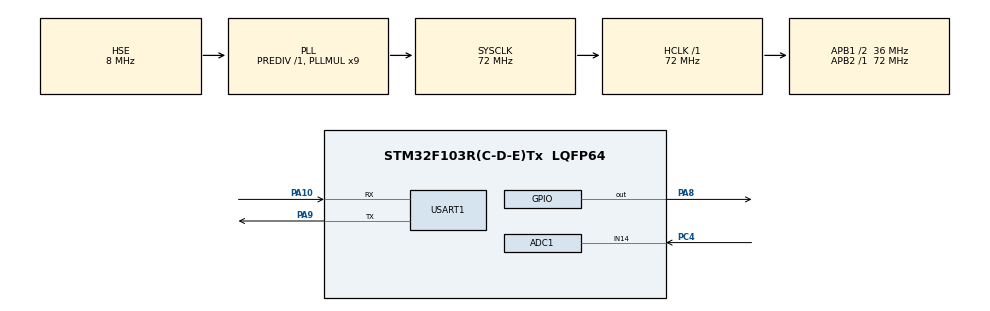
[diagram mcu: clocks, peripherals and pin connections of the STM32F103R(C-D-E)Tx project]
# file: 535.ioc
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ADC1.Channel-0\#ChannelRegularConversion=ADC_CHANNEL_14
ADC1.NbrOfConversionFlag=1
ADC1.Rank-0\#ChannelRegularConversion=1
ADC1.SamplingTime-0\#ChannelRegularConversion=ADC_SAMPLETIME_1CYCLE_5
ADC1.master=1
Mcu.Family=STM32F1
Mcu.Name=STM32F103R(C-D-E)Tx
Mcu.Package=LQFP64
NVIC.ADC1_2_IRQn=true\:0\:0\:false\:false\:true\:true\:true
NVIC.PriorityGroup=NVIC_PRIORITYGROUP_4
NVIC.USART1_IRQn=true\:0\:0\:false\:false\:true\:true\:true
PA10.Mode=Asynchronous
PA10.Signal=USART1_RX
PA13.Mode=Serial_Wire
PA13.Signal=SYS_JTMS-SWDIO
PA14.Mode=Serial_Wire
PA14.Signal=SYS_JTCK-SWCLK
PA8.Signal=GPIO_Output
PA9.Mode=Asynchronous
PA9.Signal=USART1_TX
PC14-OSC32_IN.Mode=LSE-External-Oscillator
PC14-OSC32_IN.Signal=RCC_OSC32_IN
PC15-OSC32_OUT.Mode=LSE-External-Oscillator
PC15-OSC32_OUT.Signal=RCC_OSC32_OUT
PC4.Signal=ADCx_IN14
PD0-OSC_IN.Mode=HSE-External-Oscillator
PD0-OSC_IN.Signal=RCC_OSC_IN
PD1-OSC_OUT.Mode=HSE-External-Oscillator
PD1-OSC_OUT.Signal=RCC_OSC_OUT
ProjectManager.HeapSize=0x200
ProjectManager.StackSize=0x400
ProjectManager.TargetToolchain=STM32CubeIDE
RCC.ADCPresc=RCC_ADCPCLK2_DIV6
RCC.AHBFreq_Value=72000000
RCC.APB1CLKDivider=RCC_HCLK_DIV2
RCC.APB1Freq_Value=36000000
RCC.APB1TimFreq_Value=72000000
RCC.APB2Freq_Value=72000000
RCC.APB2TimFreq_Value=72000000
RCC.HCLKFreq_Value=72000000
RCC.PLLMUL=RCC_PLL_MUL9
RCC.PLLSourceVirtual=RCC_PLLSOURCE_HSE
RCC.SYSCLKFreq_VALUE=72000000
RCC.SYSCLKSource=RCC_SYSCLKSOURCE_PLLCLK
RCC.USBFreq_Value=72000000
SH.ADCx_IN14.0=ADC1_IN14,IN14
USART1.VirtualMode=VM_ASYNC
board=custom

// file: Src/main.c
/* USER CODE BEGIN Header */
/**
  ******************************************************************************
  * @file           : main.c
  * @brief          : Main program body
  ******************************************************************************
  * @attention
  *
  * <h2><center>&copy; Copyright (c) 2020 STMicroelectronics.
  * All rights reserved.</center></h2>
  *
  * This software component is licensed by ST under BSD 3-Clause license,
  * the "License"; You may not use this file except in compliance with the
  * License. You may obtain a copy of the License at:
  *                        opensource.org/licenses/BSD-3-Clause
  *
  ******************************************************************************
  */
/* USER CODE END Header */

#include "main.h"
#include "adc.h"
#include "usart.h"
#include "gpio.h"
#include "stdio.h"

void SystemClock_Config(void);

/* USER CODE BEGIN 0 */
#define LED1_ON() HAL_GPIO_WritePin(GPIOB,GPIO_PIN_9,GPIO_PIN_SET)
#define LED1_OFF() HAL_GPIO_WritePin(GPIOB,GPIO_PIN_9,GPIO_PIN_RESET)
#define LED2_ON() HAL_GPIO_WritePin(GPIOA,GPIO_PIN_8,GPIO_PIN_RESET)
#define LED2_OFF() HAL_GPIO_WritePin(GPIOA,GPIO_PIN_8,GPIO_PIN_SET)

uint8_t Tx_str1[] = "hello chen!\r\n";
uint8_t Tx_str2[] = "LED1 Open!\r\n";
uint8_t Tx_str3[] = "LED1 Closed!\r\n";
uint8_t Rx_dat = 0;
uint8_t Str_buff1[64];

uint16_t voltage = 0; //ADCת��ֵ
uint16_t ADC_Collect = 0; //ADC�ɼ�ֵ

void HAL_UART_RxCpltCallback(UART_HandleTypeDef *huart)
{
    if(huart->Instance == USART1)
    {
        if(Rx_dat == 0xa1)
        {
            LED1_ON();

            LED2_ON();
	    HAL_UART_Transmit(&huart1,Tx_str2,sizeof(Tx_str2),10000);
	   // LED2_OFF();
	    HAL_UART_Receive_IT(&huart1,&Rx_dat,1);
        }
        else if(Rx_dat == 0xa2)
        {
	    LED1_OFF();

	    LED2_ON();
	    HAL_UART_Transmit(&huart1,Tx_str3,sizeof(Tx_str3),10000);
	    LED2_OFF();
	    HAL_UART_Receive_IT(&huart1,&Rx_dat,1);
        }
    }
}
uint16_t Get_Voltage(void) {

    //启动ADC
    HAL_ADC_Start(&hadc1);
    //等待ADC采集完成
    HAL_ADC_PollForConversion(&hadc1, 10);
    //获取ADC采集数据
    ADC_Collect = HAL_ADC_GetValue(&hadc1);
    //将采集到的数据转换为电压�?
    voltage = (ADC_Collect * 330) / 4096;
    //停止ADC
    HAL_ADC_Stop(&hadc1);
    return voltage;
}

void Get_Light() {
    LED1_ON();
    sprintf((char *) Str_buff1, "����ֵ��%d������ֵ��%d\r\n", ADC_Collect, voltage);
    HAL_UART_Transmit(&huart1, Str_buff1, sizeof(Str_buff1), 0xFFFF);
    LED1_OFF();
    HAL_Delay(200);
}
/* USER CODE END 0 */

int main(void)
{

  /* MCU Configuration--------------------------------------------------------*/

  /* Reset of all peripherals, Initializes the Flash interface and the Systick. */
  HAL_Init();

  /* Configure the system clock */
  SystemClock_Config();

  /* Initialize all configured peripherals */
  MX_GPIO_Init();
  MX_USART1_UART_Init();
  MX_ADC1_Init();
  /* USER CODE BEGIN 2 */
//鍦╩ian()鍑芥暟涓坊鍔犱互涓嬩唬鐮侊�??
LED2_ON();
HAL_Delay(500);
HAL_UART_Transmit(&huart1,Tx_str1,sizeof(Tx_str1),10000);    //鍚戜笂浣嶆満鍙戦?�???渉ello world!�???
LED2_OFF();
HAL_UART_Receive_IT(&huart1,&Rx_dat,1);                      //鍚姩涓插彛1鎺ユ敹涓婁綅�???1涓瓧鑺?
  /* USER CODE END 2 */

  /* Infinite loop */
  /* USER CODE BEGIN WHILE */
  while (1)
  {
//      HAL_GPIO_TogglePin(GPIOA,GPIO_PIN_8);
//      HAL_Delay(500);
      /*Get_Light();
      HAL_Delay(500);*/
    /* USER CODE END WHILE */

  }
}

void SystemClock_Config(void)
{
  RCC_OscInitTypeDef RCC_OscInitStruct = {0};
  RCC_ClkInitTypeDef RCC_ClkInitStruct = {0};
  RCC_PeriphCLKInitTypeDef PeriphClkInit = {0};

  /** Initializes the CPU, AHB and APB busses clocks
  */
  RCC_OscInitStruct.OscillatorType = RCC_OSCILLATORTYPE_HSE;
  RCC_OscInitStruct.HSEState = RCC_HSE_ON;
  RCC_OscInitStruct.HSEPredivValue = RCC_HSE_PREDIV_DIV1;
  RCC_OscInitStruct.HSIState = RCC_HSI_ON;
  RCC_OscInitStruct.PLL.PLLState = RCC_PLL_ON;
  RCC_OscInitStruct.PLL.PLLSource = RCC_PLLSOURCE_HSE;
  RCC_OscInitStruct.PLL.PLLMUL = RCC_PLL_MUL9;
  if (HAL_RCC_OscConfig(&RCC_OscInitStruct) != HAL_OK)
  {
    Error_Handler();
  }
  /** Initializes the CPU, AHB and APB busses clocks
  */
  RCC_ClkInitStruct.ClockType = RCC_CLOCKTYPE_HCLK|RCC_CLOCKTYPE_SYSCLK
                              |RCC_CLOCKTYPE_PCLK1|RCC_CLOCKTYPE_PCLK2;
  RCC_ClkInitStruct.SYSCLKSource = RCC_SYSCLKSOURCE_PLLCLK;
  RCC_ClkInitStruct.AHBCLKDivider = RCC_SYSCLK_DIV1;
  RCC_ClkInitStruct.APB1CLKDivider = RCC_HCLK_DIV2;
  RCC_ClkInitStruct.APB2CLKDivider = RCC_HCLK_DIV1;

  if (HAL_RCC_ClockConfig(&RCC_ClkInitStruct, FLASH_LATENCY_2) != HAL_OK)
  {
    Error_Handler();
  }
  PeriphClkInit.PeriphClockSelection = RCC_PERIPHCLK_ADC;
  PeriphClkInit.AdcClockSelection = RCC_ADCPCLK2_DIV6;
  if (HAL_RCCEx_PeriphCLKConfig(&PeriphClkInit) != HAL_OK)
  {
    Error_Handler();
  }
}

void Error_Handler(void)
{
}

/************************ (C) COPYRIGHT STMicroelectronics *****END OF FILE****/
